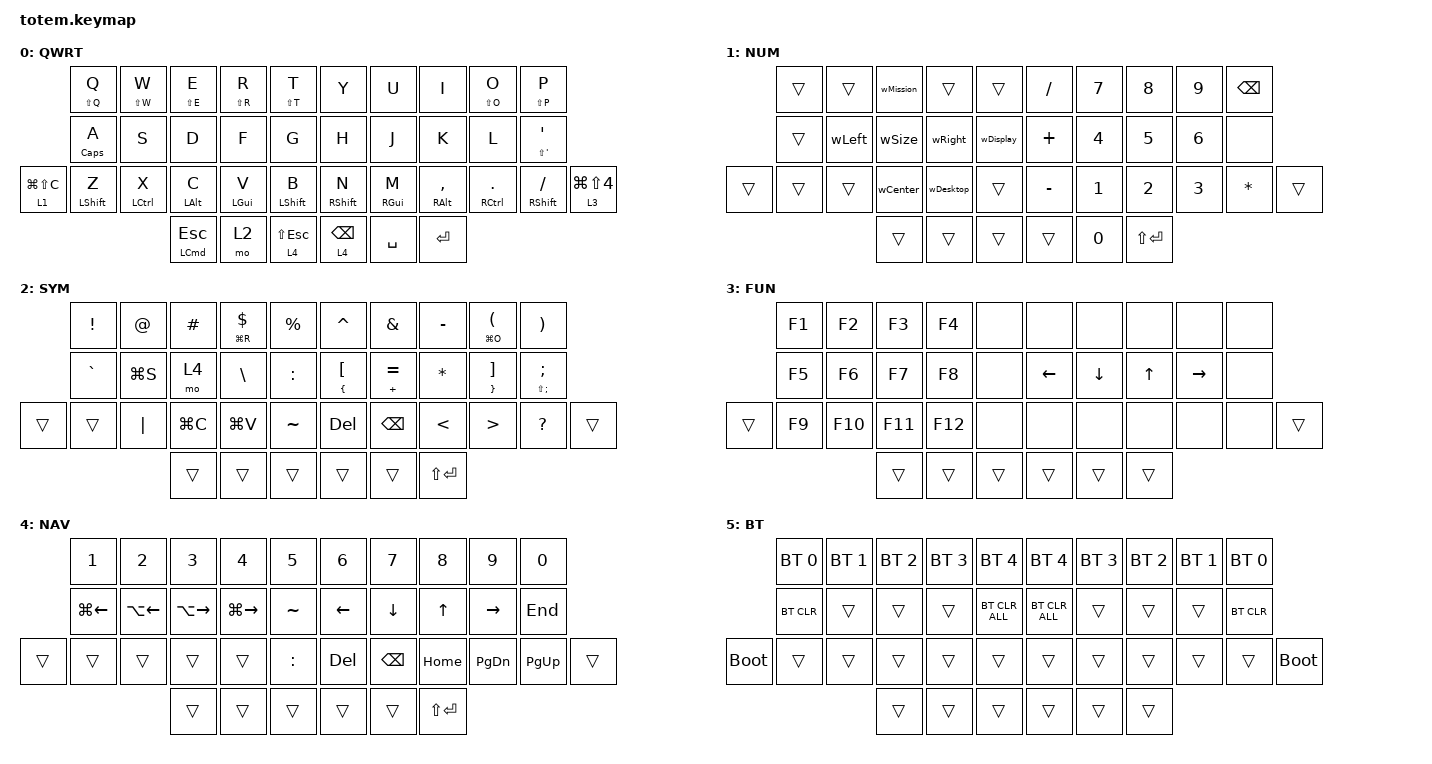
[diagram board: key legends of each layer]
//
//                                                        ▀▀▀▀▀     ▀▀▀▀▀          ▀▀█▀▀
//                                                        ▄▀▀▀▄  ▄  ▄▀▀▀▄  ▄  ▄▀▀▀▄  █  ▄▀▀▀▄
//                                                        █   █  █  █   █  █  █   █  █  █   █
//                                                         ▀▀▀   █   ▀▀▀   █   ▀▀▀   ▀   ▀▀▀
//                                                               █      ▄▄▄█▄▄▄    █   █  
//                                                               ▀      █  █  █     █▄█
//                                                             ▀▀▀▀▀    █  █  █      ▀
//                                                                      ▀  ▀  ▀
//
// ▄▄▄▄▄▄▄▄▄▄▄▄▄▄▄▄▄▄▄▄▄▄▄▄▄▄▄▄▄▄▄▄▄▄▄▄▄▄▄▄▄▄▄▄▄▄▄▄▄▄▄▄▄▄▄▄▄▄▄▄▄▄▄▄▄▄▄▄▄▄▄▄▄▄▄▄▄▄▄▄▄▄▄▄▄▄▄▄▄▄▄▄▄▄▄▄▄▄▄▄▄▄▄▄▄▄▄▄▄▄▄▄▄▄▄▄▄▄▄▄▄▄▄▄▄▄▄▄▄▄▄▄▄▄▄▄▄▄▄▄▄▄▄▄▄▄▄▄▄
// Keyball39 키맵(zmk-config-Keyball39)을 토템 38키 배열로 옮긴 것
//
// 키 위치 번호 (토템)
//        0  1  2  3  4      5  6  7  8  9
//       10 11 12 13 14     15 16 17 18 19
//    20 21 22 23 24 25     26 27 28 29 30 31
//             32 33 34     35 36 37
//
// Keyball39 하단 행 → 토템 대응
//   30 &lt 1 LG(LS(C))     → 20 (왼쪽 바깥)
//   31 &mt LALT DELETE     → 생략 (ALT 는 C·쉼표 홈로우 모드, DEL 은 SYM 레이어에 있음)
//   32 &lt 3 LG(LS(N4))    → 31 (오른쪽 바깥)
//   33 34 35 (왼손 엄지)   → 32 33 34
//   36 37    (오른손 엄지) → 35 36
//   38 ENTER               → 37

#include <behaviors.dtsi>
#include <dt-bindings/zmk/bt.h>
#include <dt-bindings/zmk/keys.h>

&lt {
    tapping-term-ms = <200>;
    flavor = "tap-preferred";
    quick-tap-ms = <150>;
    require-prior-idle-ms = <150>;
};

&mt {
    tapping-term-ms = <175>;
    flavor = "tap-preferred";
};

/ {
    behaviors {
        // 왼손 홈로우 모드: 오른손 키(+오른손 엄지)가 눌릴 때만 hold 로 판정

        hmLeft: hmLeft {
            compatible = "zmk,behavior-hold-tap";
            bindings = <&kp>, <&kp>;

            #binding-cells = <2>;
            tapping-term-ms = <200>;
            quick-tap-ms = <150>;
            flavor = "tap-preferred";
            hold-trigger-key-positions = <5 6 7 8 9 15 16 17 18 19 26 27 28 29 30 31 35 36 37>;
        };

        // 오른손 홈로우 모드: 왼손 키(+왼손 엄지)가 눌릴 때만 hold 로 판정

        hmRight: hmRight {
            compatible = "zmk,behavior-hold-tap";
            bindings = <&kp>, <&kp>;

            #binding-cells = <2>;
            tapping-term-ms = <200>;
            quick-tap-ms = <150>;
            flavor = "tap-preferred";
            hold-trigger-key-positions = <0 1 2 3 4 10 11 12 13 14 20 21 22 23 24 25 32 33 34>;
        };

        // auto shift: 짧게 누르면 기본 자모, 길게 누르면 Shift 조합(쌍자음 ㅃㅉㄸㄲㅆ, 모음 ㅒㅖ)

        as: auto_shift {
            compatible = "zmk,behavior-hold-tap";
            bindings = <&kp>, <&kp>;

            #binding-cells = <2>;
            tapping-term-ms = <200>;
            flavor = "tap-preferred";
            quick-tap-ms = <150>;
            require-prior-idle-ms = <150>;
        };

        // 조합키 전용 hold-tap: 홀드 시 매크로로 한 번만 tap (auto-repeat 없음)

        mts: mt_shot {
            compatible = "zmk,behavior-hold-tap";
            bindings = <&shot>, <&kp>;

            #binding-cells = <2>;
            tapping-term-ms = <175>;
            flavor = "tap-preferred";
        };
    };

    macros {
        // 파라미터로 받은 키코드를 한 번만 tap (auto-repeat 방지용)

        shot: shot {
            compatible = "zmk,behavior-macro-one-param";
            #binding-cells = <1>;
            bindings = <&macro_param_1to1 &kp MACRO_PLACEHOLDER>;
        };

        // 윈도우 관리 단축키 — 홀드해도 1회만 전송 (auto-repeat 없음)

        wCenter: window_center {
            compatible = "zmk,behavior-macro";
            #binding-cells = <0>;
            bindings = <&kp LA(C)>;
        };

        wLeft: window_left_half {
            compatible = "zmk,behavior-macro";
            #binding-cells = <0>;
            bindings = <&kp LA(LEFT)>;
        };

        wRight: window_right_half {
            compatible = "zmk,behavior-macro";
            #binding-cells = <0>;
            bindings = <&kp LA(RIGHT)>;
        };

        wSize: window_reasonable_size {
            compatible = "zmk,behavior-macro";
            #binding-cells = <0>;
            bindings = <&kp LA(O)>;
        };

        wDesktop: window_next_desktop {
            compatible = "zmk,behavior-macro";
            #binding-cells = <0>;
            bindings = <&kp LC(LS(TAB))>;
        };

        wDisplay: window_next_display {
            compatible = "zmk,behavior-macro";
            #binding-cells = <0>;
            bindings = <&kp LC(LA(TAB))>;
        };

        wMission: window_mission_control {
            compatible = "zmk,behavior-macro";
            #binding-cells = <0>;
            bindings = <&kp LC(UP)>;
        };
    };

    combos {
        compatible = "zmk,combos";

        cb_enter {
            bindings = <&kp ENTER>;
            key-positions = <17 18>;
        };

        cb_bt_layer {
            bindings = <&mo 5>;
            key-positions = <33 34>;
            require-prior-idle-ms = <150>;
            layers = <0>;
        };

        cb_esc {
            bindings = <&kp ESCAPE>;
            key-positions = <0 1>;
        };

        cb_backspace {
            bindings = <&kp BACKSPACE>;
            key-positions = <8 9>;
        };

        cb_tab {
            bindings = <&kt TAB>;
            key-positions = <10 11>;
        };
    };

    keymap {
        compatible = "zmk,keymap";

        default_layer {
            display-name = "QWRT";
            bindings = <
                   &as LS(Q) Q      &as LS(W) W      &as LS(E) E                    &as LS(R) R     &as LS(T) T        &kp Y             &kp U            &kp I                &as LS(O) O         &as LS(P) P
                   &mt CAPS A       &kp S            &kp D                          &kp F           &kp G              &kp H             &kp J            &kp K                &kp L               &as LS(SINGLE_QUOTE) SINGLE_QUOTE
&lt 1 LG(LS(C))  &hmLeft LSHFT Z  &hmLeft LCTRL X  &hmLeft LALT C                 &hmLeft LGUI V  &hmLeft LSHFT B    &hmRight RSHFT N  &hmRight RGUI M  &hmRight RALT COMMA  &hmRight RCTRL DOT  &hmRight RSHFT SLASH  &lt 3 LG(LS(N4))
                                                     &mt LEFT_COMMAND ESC           &mo 2           &lt 4 LS(ESCAPE)   &lt 4 BACKSPACE   &kp SPACE        &kp ENTER
            >;
        };

        macro {
            display-name = "NUM";
            bindings = <
        &trans  &trans  &wMission  &trans     &trans       &kp SLASH  &kp NUMBER_7  &kp NUMBER_8   &kp NUMBER_9  &kp BACKSPACE
        &trans  &wLeft  &wSize     &wRight    &wDisplay    &kp PLUS   &kp NUMBER_4  &kp NUMBER_5   &kp NUMBER_6  &none
&trans  &trans  &trans  &wCenter   &wDesktop  &trans       &kp MINUS &kp NUMBER_1  &kp NUMBER_2   &kp NUMBER_3  &kp ASTERISK   &trans
                        &trans  &trans  &trans    &trans     &kp NUMBER_0  &kp LS(ENTER)
            >;
        };

        symbol_layer {
            display-name = "SYM";
            bindings = <
        &kp EXCLAMATION         &kp AT_SIGN         &kp HASH   &mts LG(R) DOLLAR  &kp PERCENT      &kp CARET                    &kp AMPERSAND   &kp MINUS             &mts LG(O) LEFT_PARENTHESIS    &kp RIGHT_PARENTHESIS
        &kp GRAVE               &kp LG(S)           &mo 4      &kp BACKSLASH      &kp COLON        &as LEFT_BRACE LEFT_BRACKET  &as PLUS EQUAL  &kp ASTERISK          &as RIGHT_BRACE RIGHT_BRACKET  &as LS(SEMICOLON) SEMICOLON
&trans  &trans                  &kp PIPE            &kp LG(C)  &kp LG(V)          &kp TILDE        &kp DEL                     &kp BACKSPACE   &kp LESS_THAN         &kp GREATER_THAN               &kp QUESTION           &trans
                                                    &trans     &trans             &trans           &trans                       &trans          &kp LS(ENTER)
            >;
        };

        function_layer {
            display-name = "FUN";
            bindings = <
        &kp F1  &kp F2   &kp F3   &kp F4   &none     &none     &none     &none   &none      &none
        &kp F5  &kp F6   &kp F7   &kp F8   &none     &kp LEFT  &kp DOWN  &kp UP  &kp RIGHT  &none
&trans  &kp F9  &kp F10  &kp F11  &kp F12  &none     &none     &none     &none   &none      &none  &trans
                         &trans   &trans   &trans    &trans    &trans    &trans
            >;
        };

        nav_layer {
            display-name = "NAV";
            bindings = <
        &kp NUMBER_1  &kp NUMBER_2  &kp NUMBER_3  &kp NUMBER_4  &kp NUMBER_5    &kp NUMBER_6    &kp NUMBER_7   &kp NUMBER_8   &kp NUMBER_9  &kp NUMBER_0
        &kp LG(LEFT)  &kp LA(LEFT)  &kp LA(RIGHT) &kp LG(RIGHT) &kp TILDE       &kp LEFT_ARROW  &kp DOWN       &kp UP         &kp RIGHT     &kp END
&trans  &trans        &trans        &trans        &trans        &kp COLON       &kp DELETE      &kp BACKSPACE  &kp HOME       &kp PAGE_DOWN &kp PAGE_UP   &trans
                                    &trans        &trans        &trans          &trans          &trans         &kp LS(ENTER)
            >;
        };

        bluetooth {
            display-name = "BT";
            bindings = <
             &bt BT_SEL 0  &bt BT_SEL 1  &bt BT_SEL 2  &bt BT_SEL 3  &bt BT_SEL 4      &bt BT_SEL 4    &bt BT_SEL 3  &bt BT_SEL 2  &bt BT_SEL 1  &bt BT_SEL 0
             &bt BT_CLR    &trans        &trans        &trans        &bt BT_CLR_ALL    &bt BT_CLR_ALL  &trans        &trans        &trans        &bt BT_CLR
&bootloader  &trans        &trans        &trans        &trans        &trans            &trans          &trans        &trans        &trans        &trans        &bootloader
                                         &trans        &trans        &trans            &trans          &trans        &trans
            >;
        };
    };
};
